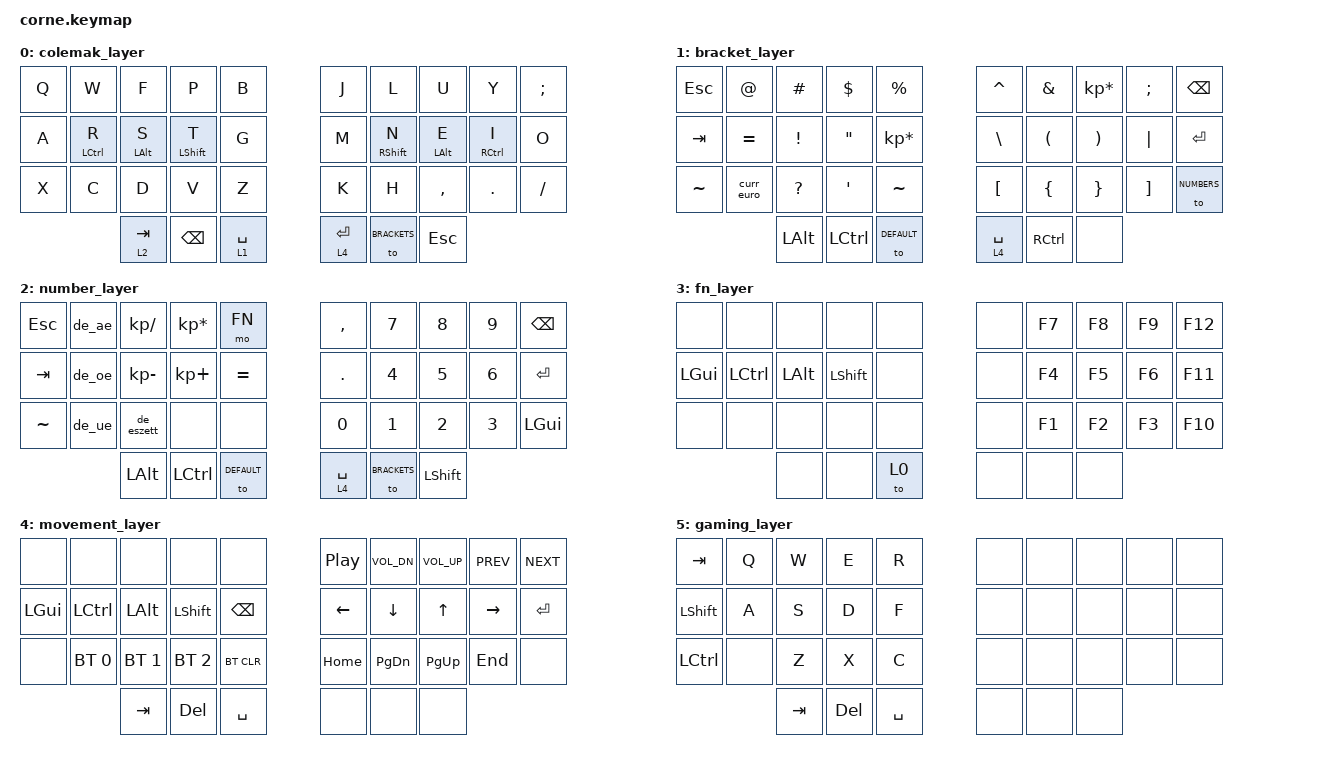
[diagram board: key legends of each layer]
/*
 * Copyright (c) 2020 The ZMK Contributors
 *
 * SPDX-License-Identifier: MIT
 */

#include <behaviors.dtsi>
#include <dt-bindings/zmk/keys.h>
#include <dt-bindings/zmk/bt.h>

#define DEFAULT 0
#define BRACKETS 1
#define NUMBERS 2
#define FN 3
#define MOVEMENT 4

#include "zmk-helpers/helper.h"
// Source desired key-position labels
#include "zmk-helpers/key-labels/36.h"
// Source unicode-chars for desired languages
#include "zmk-helpers/unicode-chars/german.dtsi"
#include "zmk-helpers/unicode-chars/currency.dtsi"


#define KEYS_L LT0 LT1 LT2 LT3 LT4 LM0 LM1 LM2 LM3 LM4 LB0 LB1 LB2 LB3 LB4
#define KEYS_R RT0 RT1 RT2 RT3 RT4 RM0 RM1 RM2 RM3 RM4 RB0 RB1 RB2 RB3 RB4
#define KEYS_T LH2 LH1 LH0 RH0 RH1 RH2

/ {
    combos {
        compatible = "zmk,combos";
        combo_gui {
            timeout-ms = <50>;
            key-positions = <32 33>;
            bindings = <&kp LGUI>;
            layers = <0>;
        };
        combo_pscrn {
            timeout-ms = <50>;
            key-positions = <0 1>;
            bindings = <&kp PSCRN>;
            layers = <4>;
        };
        combo_capsword {
            timeout-ms = <50>;
            key-positions = <13 16>;
            bindings = <&caps_word>;
            layers = <0>;
        };
        combo_alt_f4 {
            timeout-ms = <50>;
            key-positions = <32 2>;
            bindings = <&alt_f4>;
            layers = <4>;
        };
        combo_BT_CLR_ALL {
            timeout-ms = <50>;
            key-positions = <20 4>;
            bindings = <&bt BT_CLR_ALL>;
            layers = <4>;
        };
        combo_plus {
            timeout-ms = <50>;
            key-positions = <6 7>;
            bindings = <&kp KP_PLUS>;
            layers = <0>;
        };
        combo_underscore {
            timeout-ms = <50>;
            key-positions = <16 17>;
            bindings = <&kp UNDER>;
            layers = <0>;
        };
        combo_minus {
            timeout-ms = <50>;
            key-positions = <26 27>;
            bindings = <&kp KP_MINUS>;
            layers = <0>;
        };
    };
};

/ {
    macros {
        alt_f4: alt_f4 {
            compatible = "zmk,behavior-macro";
            #binding-cells = <0>;
            wait-ms = <40>;
            tap-ms = <40>;
            bindings
                = <&macro_press   &kp LALT>
                , <&macro_tap     &kp F4>
                , <&macro_release &kp LALT>
                ;
        };
    };
};

#define HM_TAPPING_TERM 300
#define HM_TAPPING_TERM_FAST 200
#define HM_PRIOR_IDLE 150

/ {
    behaviors {
        hm_l: homerow_mods_left {
            compatible = "zmk,behavior-hold-tap";
            #binding-cells = <2>;
            bindings = <&kp>,  <&kp>;

            flavor = "balanced";
            tapping-term-ms = <HM_TAPPING_TERM>;
            quick-tap-ms = <175>;
            require-prior-idle-ms = <HM_PRIOR_IDLE>;

            hold-trigger-key-positions = <KEYS_R KEYS_T>;
            hold-trigger-on-release;
        };

        hm_r: homerow_mods_right {
            compatible = "zmk,behavior-hold-tap";
            #binding-cells = <2>;
            bindings = <&kp>, <&kp>;

            flavor = "balanced";
            tapping-term-ms = <HM_TAPPING_TERM>;
            quick-tap-ms = <175>;
            require-prior-idle-ms = <HM_PRIOR_IDLE>;

            hold-trigger-key-positions = <KEYS_L KEYS_T>;
            hold-trigger-on-release;
        };
    };
};

/ {

    chosen {
        zmk,matrix_transform = &five_column_transform;
    };

    keymap {
                compatible = "zmk,keymap";

                // 0
                colemak_layer {
// ╭───────────────────────────────────────────────────────────┬───────────────────────────────────────────────────────────╮
// |     Q     |     W     |     F     |     P     |     B     |     J     |     L     |     U     |     Y     |     ;     |
// |     A     |     R     |     S     |     T     |     G     |     M     |     N     |     E     |     I     |     O     |
// |     X     |     C     |     D     |     V     |     Z     |     K     |     H     |     ,     |     .     |     /     |
// ╰───────────────────────╮    TAB    |    BSPC   |    SPC    |    RET    |  BRACKETS |    ESC    ╭───────────────────────╯
//                         ╰───────────────────────────────────┴───────────────────────────────────╯
                        bindings = <
   &kp Q       &kp W        &kp F       &kp P         &kp B        &kp J     &kp L         &kp U              &kp Y           &kp SEMI
   &kp A       &hm_l LCTRL R &hm_l LALT S &hm_l LSHIFT T &kp G        &kp M     &hm_r RSHIFT N &hm_r LALT E        &hm_r RCTRL I    &kp O   
   &kp X       &kp C        &kp D       &kp V         &kp Z        &kp K     &kp H         &kp COMMA          &kp DOT         &kp FSLH
                            &lt 2 TAB   &kp BSPC      &lt 1 SPACE  &lt 4 RET &to BRACKETS  &kp ESC
                        >;
                };

                // 1
                bracket_layer {
// ╭───────────────────────────────────────────────────────────┬───────────────────────────────────────────────────────────╮
// |    ESC    |     @     |     #     |     $     |     %     |     ^     |     &     |     *     |     ;     |    BKSP   |
// |    TAB    |     =     |     !     |     "     |     ~     |     \     |     (     |     )     |     |     |    RET    |
// |     ~     |     €     |     ?     |     '     |     *     |     [     |     {     |     }     |     ]     |    L2     |
// ╰───────────────────────╮    ALT    |    CTRL   |     L0    |     L4    |    CTRL   |           ╭───────────────────────╯
//                         ╰───────────────────────────────────┴───────────────────────────────────╯
                        bindings = <
   &kp ESC   &kp AT         &kp HASH     &kp DLLR   &kp PRCNT       &kp CARET     &kp AMPS   &kp KP_MULTIPLY &kp SEMI  &kp BSPC   
   &kp TAB   &kp EQUAL      &kp EXCL     &kp DQT    &kp KP_MULTIPLY &kp BSLH      &kp LPAR   &kp RPAR        &kp PIPE  &kp RET    
   &kp TILDE &curr_euro          &kp QMARK    &kp SQT    &kp TILDE       &kp LBKT      &kp LBRC   &kp RBRC        &kp RBKT  &to NUMBERS
                    	            &kp LALT     &kp LCTL   &to DEFAULT     &lt 4 SPACE   &kp RCTL   &none  
                        >;
                };

                // 2
                number_layer {
// ╭───────────────────────────────────────────────────────────┬───────────────────────────────────────────────────────────╮
// |    ESC    |     ä     |     /     |     *     |     FN    |     ,     |     7     |     8     |     9     |    BKSP   |
// |    TAB    |     ö     |     -     |     +     |     =     |     .     |     4     |     5     |     6     |    ENT    |
// |    RST    |     ü     |     ß     |           |           |     0     |     1     |     2     |     3     |    GUI    |
// ╰───────────────────────╮    ALT    |    CTRL   |     L0    |     L4    |     L1    |   SHIFT   ╭───────────────────────╯
//                         ╰───────────────────────────────────┴───────────────────────────────────╯
                        bindings = <
   &kp ESC     &de_ae    &kp KP_DIVIDE &kp KP_MULTIPLY &mo FN       &kp COMMA    &kp N7       &kp N8     &kp N9      &kp BSPC
   &kp TAB     &de_oe    &kp KP_MINUS  &kp KP_PLUS  &kp EQUAL       &kp DOT      &kp N4       &kp N5     &kp N6      &kp RET 
   &kp TILDE   &de_ue    &de_eszett    &none        &none           &kp N0       &kp N1       &kp N2     &kp N3      &kp LGUI
                    	 &kp LALT      &kp LCTL     &to DEFAULT     &lt 4 SPACE  &to BRACKETS &kp LSHIFT 
                        >;
                };

                // 3
                fn_layer {
// ╭─────────────────────────────────────────────────────────────┬─────────────────────────────────────────────────────────────╮
// |  COLEMAK  |   QWERTY  |           |           |             |             |     F7    |     F8    |     F9    |    F12    |
// |    GUI    |    CTRL   |    ALT    |   SHIFT   |             |             |     F4    |     F5    |     F6    |    F11    |
// |           |           |           |           |             |             |     F1    |     F2    |     F3    |    F10    |
// ╰───────────────────────╮           |           |     L0      |             |           |           ╭───────────────────────╯
//                         ╰─────────────────────────────────────┴─────────────────────────────────────╯
                        bindings = <
   &none        &none      &none       &none       &none            &none      &kp F7       &kp F8     &kp F9      &kp F12
   &kp LGUI     &kp LCTL   &kp LALT    &kp LSHIFT  &none            &none      &kp F4       &kp F5     &kp F6      &kp F11
   &none        &none      &none       &none       &none            &none      &kp F1       &kp F2     &kp F3      &kp F10
                    	   &none       &none       &to 0            &none      &none        &none 
                        >;
                };

                // 4
                movement_layer {
// ╭───────────────────────────────────────────────────────────┬───────────────────────────────────────────────────────────╮
// |    PSCRN  |    PSCRN  |    AF4    |           |    BT_CA  |    PP     |    VOL+   |    VOL-   |    PREV   |    NEXT   |
// |    GUI    |    CTRL   |    ALT    |   SHIFT   |    BSPC   |    LFT    |    DWN    |    UP     |    RGT    |    RET    |
// |           |    BT_0   |   BT_01   |   BT_02   |    BT_C   |    HOME   |    PDN    |    PUP    |    END    |           |
// ╰───────────────────────╮    TAB    |    DEL    |    SPC    |           |           |           ╭───────────────────────╯
//                         ╰───────────────────────────────────┴───────────────────────────────────╯
                        bindings = <
   &none          &none        &none        &none        &none          &kp C_PP   &kp C_VOL_DN &kp C_VOL_UP   &kp C_PREV    &kp C_NEXT
   &kp LGUI       &kp LCTL     &kp LALT     &kp LSHIFT   &kp BSPC       &kp LEFT   &kp DOWN     &kp UP         &kp RIGHT     &kp RET   
   &none          &bt BT_SEL 0 &bt BT_SEL 1 &bt BT_SEL 2 &bt BT_CLR     &kp HOME   &kp PG_DN    &kp PG_UP      &kp END       &none     
                          	   &kp TAB      &kp DEL      &kp SPACE      &none      &none        &none
                        >;
                };

                gaming_layer {
// ╭───────────────────────────────────────────────────────────┬───────────────────────────────────────────────────────────╮
// |     Q     |     W     |     F     |     P     |     B     |           |           |           |           |           |
// |     A     |     R     |     S     |     T     |     G     |           |           |           |           |           |
// |     X     |     C     |     D     |     V     |     Z     |           |           |           |           |           |
// ╰───────────────────────╮    TAB    |    DEL    |    SPC    |           |           |           ╭───────────────────────╯
//                         ╰───────────────────────────────────┴───────────────────────────────────╯
                        bindings = <
   &kp TAB     &kp Q         &kp W        &kp E        &kp R          &none    &none    &none       &none      &none
   &kp LSHIFT  &kp A         &kp S        &kp D        &kp F          &none    &none    &none       &none      &none
   &kp LCTRL   &none         &kp Z        &kp X        &kp C          &none    &none    &none       &none      &none
                          	 &kp TAB      &kp DEL      &kp SPACE      &none    &none    &none
                        >;
                };
        };
};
